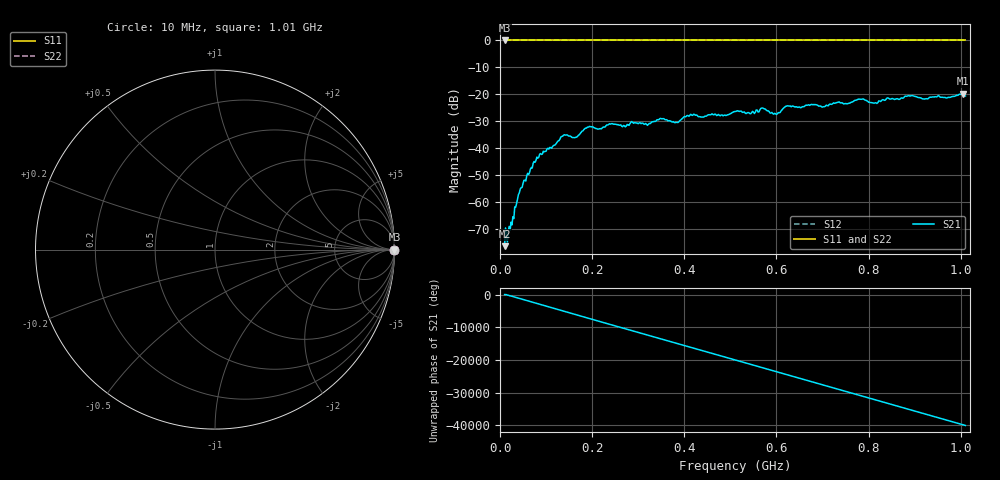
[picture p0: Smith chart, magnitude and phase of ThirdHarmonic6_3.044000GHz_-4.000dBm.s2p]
! 8/17/2025 8:49:21 AM
! C:\ANRITSUVNA\TEMP\TEMP.S2P
! CHANNEL.1
! TR.MEASUREMENT
! RAW.DATA
! RF.CORRECTION.OFF
! AVERAGING.OFF
! IF.BANDWIDTH: 5KHZ
! SWEEPTYPE:  FREQ.SWEEP(Linear)
! Reference Plane Port Info
! PORT:  PORT1  PORT2
! DISTANCE:  0  m  0  m
! TIME:  0  s  0  s
! PHASE.OFFSET:  0  deg.  0  deg.
! LOSS:  0  dB  0  dB
! REF.LOSS:  0  dB  0  dB
! REF.FREQ:  0  Hz  0  Hz
! Power Info
! POWER:  -20  dBm  -20  dBm
! EFF.POWER:  -20  dBm  -20  dBm
! SOURCE.ATTEN:  0  dB  0  dB
! TEST.ATTEN:  0  dB  0  dB
# GHZ S RI R 50.0
! FREQ.GHZ  S11RE  S11IM  S21RE  S21IM  S12RE  S12IM  S22RE  S22IM
!; PortSelection: Port_12
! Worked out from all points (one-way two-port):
!   501 points, 10 MHz to 1.01 GHz, reference 50 ohm
!   highest |S21| = -19.77 dB at 1.004 GHz (marker M1); lowest = -76.5 dB at 10 MHz (marker M2)
!   lowest |S11| = 0.0 dB at 10 MHz (marker M3)
!   |S11| at or under -10 dB: nowhere
!   |S22| runs from 0.0 to 0.0 dB; largest |S21 - S12| = 1.1
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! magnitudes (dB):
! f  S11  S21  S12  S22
! 10 MHz  0.0  -76.5  0.0  0.0
! 26 MHz  0.0  -68.6  0.0  0.0
! 42 MHz  0.0  -56.6  0.0  0.0
! 76 MHz  0.0  -45.3  0.0  0.0
! 136 MHz  0.0  -35.6  0.0  0.0
! 162 MHz  0.0  -36.2  0.0  0.0
! 178 MHz  0.0  -33.7  0.0  0.0
! 194 MHz  0.0  -32.0  0.0  0.0
! 322 MHz  0.0  -31.2  0.0  0.0
! 344 MHz  0.0  -29.5  0.0  0.0
! 382 MHz  0.0  -30.5  0.0  0.0
! 418 MHz  0.0  -27.9  0.0  0.0
! 510 MHz  0.0  -26.4  0.0  0.0
! 570 MHz  0.0  -25.1  0.0  0.0
! 598 MHz  0.0  -27.3  0.0  0.0
! 622 MHz  0.0  -24.4  0.0  0.0
! 678 MHz  0.0  -23.9  0.0  0.0
! 784 MHz  0.0  -21.9  0.0  0.0
! 814 MHz  0.0  -23.2  0.0  0.0
! 844 MHz  0.0  -21.6  0.0  0.0
! 1.004 GHz  0.0  -19.8  0.0  0.0
! 1.01 GHz  0.0  -20.6  0.0  0.0
